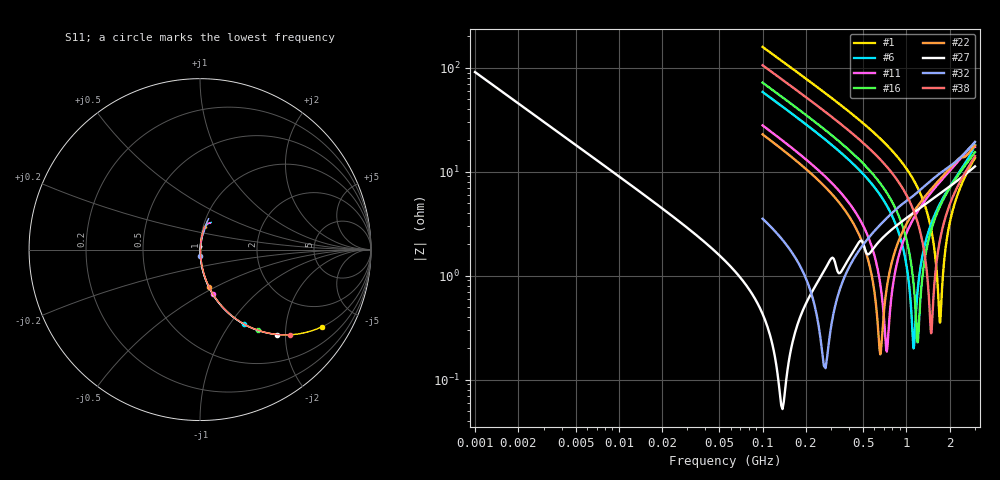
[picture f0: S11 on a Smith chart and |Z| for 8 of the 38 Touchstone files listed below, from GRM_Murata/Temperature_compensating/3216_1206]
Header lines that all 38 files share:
!These Parameters are Measured in Series Mode Connection
!Data Generated on Mar 30, 2021
!  o--ll--o
!Port1  Port2
!  o------o
!Operation Temp=25[degC], DC Bias Voltage=0[V]
# Hz S RI R 50
!Freq.(Hz) S11(Real) S11(Imag) S21(Real) S21(Imag) S12(Real) S12(Imag) S22(Real) S22(Imag)
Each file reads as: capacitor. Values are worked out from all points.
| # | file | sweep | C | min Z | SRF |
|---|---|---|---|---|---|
| 1 | GRM31A5C2J100JW01.s2p | 100 MHz to 3 GHz | 9.99 pF | 353 mohm | 1.712 GHz |
| 2 | GRM31A5C2J120JW01.s2p | 100 MHz to 3 GHz | 12 pF | 287 mohm | 1.56 GHz |
| 3 | GRM31A5C2J121JW01.s2p | 100 MHz to 3 GHz | 120 pF | 158 mohm | 485.4 MHz |
| 4 | GRM31A5C2J150JW01.s2p | 100 MHz to 3 GHz | 15 pF | 277 mohm | 1.433 GHz |
| 5 | GRM31A5C2J181JW01.s2p | 100 MHz to 3 GHz | 180 pF | 135 mohm | 403.4 MHz |
| 6 | GRM31A5C2J270JW01.s2p | 100 MHz to 3 GHz | 27 pF | 200 mohm | 1.124 GHz |
| 7 | GRM31A5C2J271JW01.s2p | 100 MHz to 3 GHz | 270 pF | 131 mohm | 327.6 MHz |
| 8 | GRM31A5C2J331JW01.s2p | 100 MHz to 3 GHz | 330 pF | 120 mohm | 301.7 MHz |
| 9 | GRM31A5C2J390JW01.s2p | 100 MHz to 3 GHz | 39 pF | 222 mohm | 891.9 MHz |
| 10 | GRM31A5C2J471JW01.s2p | 100 MHz to 3 GHz | 469 pF | 96.8 mohm | 252.7 MHz |
| 11 | GRM31A5C2J560JW01.s2p | 100 MHz to 3 GHz | 56 pF | 186 mohm | 729.6 MHz |
| 12 | GRM31A5C2J820JW01.s2p | 100 MHz to 3 GHz | 81.9 pF | 151 mohm | 605.7 MHz |
| 13 | GRM31A5C3A120JW01.s2p | 100 MHz to 3 GHz | 12 pF | 297 mohm | 1.578 GHz |
| 14 | GRM31A5C3A121JW01.s2p | 100 MHz to 3 GHz | 120 pF | 124 mohm | 524.1 MHz |
| 15 | GRM31A5C3A151JW01.s2p | 100 MHz to 3 GHz | 150 pF | 108 mohm | 484.4 MHz |
| 16 | GRM31A5C3A220JW01.s2p | 100 MHz to 3 GHz | 22 pF | 228 mohm | 1.198 GHz |
| 17 | GRM31A5C3A271JWA1.s2p | 100 MHz to 3 GHz | 271 pF | 92.8 mohm | 341.9 MHz |
| 18 | GRM31A5C3A330JW01.s2p | 100 MHz to 3 GHz | 33 pF | 192 mohm | 1.023 GHz |
| 19 | GRM31A5C3A331JWA1.s2p | 100 MHz to 3 GHz | 294 pF | 81.7 mohm | 319.4 MHz |
| 20 | GRM31A5C3A390JW01.s2p | 100 MHz to 3 GHz | 39 pF | 197 mohm | 900.4 MHz |
| 21 | GRM31A5C3A391JWA1.s2p | 100 MHz to 3 GHz | 391 pF | 75.8 mohm | 280.4 MHz |
| 22 | GRM31A5C3A680JW01.s2p | 100 MHz to 3 GHz | 68 pF | 175 mohm | 658.9 MHz |
| 23 | GRM31A7U2J122JW31.s2p | 1 MHz to 3 GHz | 1.23 nF | 58.6 mohm | 162.5 MHz |
| 24 | GRM31A7U2J150JW31.s2p | 100 MHz to 3 GHz | 15 pF | 282 mohm | 1.483 GHz |
| 25 | GRM31A7U2J151JW31.s2p | 100 MHz to 3 GHz | 150 pF | 146 mohm | 450.1 MHz |
| 26 | GRM31A7U2J181JW31.s2p | 100 MHz to 3 GHz | 180 pF | 137 mohm | 415.2 MHz |
| 27 | GRM31A7U2J182JW31.s2p | 1 MHz to 3 GHz | 1.75 nF | 52.1 mohm | 137.3 MHz |
| 28 | GRM31A7U2J220JW31.s2p | 100 MHz to 3 GHz | 22 pF | 280 mohm | 1.159 GHz |
| 29 | GRM31A7U2J221JW31.s2p | 100 MHz to 3 GHz | 220 pF | 115 mohm | 376.5 MHz |
| 30 | GRM31A7U2J271JW31.s2p | 100 MHz to 3 GHz | 270 pF | 95.7 mohm | 355.3 MHz |
| 31 | GRM31A7U2J331JW31.s2p | 100 MHz to 3 GHz | 329 pF | 84.2 mohm | 325.1 MHz |
| 32 | GRM31A7U2J391JW31.s2p | 100 MHz to 3 GHz | 390 pF | 129 mohm | 271.5 MHz |
| 33 | GRM31A7U2J470JW31.s2p | 100 MHz to 3 GHz | 47 pF | 217 mohm | 812.7 MHz |
| 34 | GRM31A7U2J471JW31.s2p | 100 MHz to 3 GHz | 470 pF | 106 mohm | 251.7 MHz |
| 35 | GRM31A7U2J561JW31.s2p | 100 MHz to 3 GHz | 559 pF | 82.4 mohm | 231.8 MHz |
| 36 | GRM31A7U2J820JW31.s2p | 100 MHz to 3 GHz | 81.9 pF | 169 mohm | 593.4 MHz |
| 37 | GRM31A7U3A101JW31.s2p | 100 MHz to 3 GHz | 99.9 pF | 155 mohm | 545.2 MHz |
| 38 | GRM31A7U3A150JW31.s2p | 100 MHz to 3 GHz | 15 pF | 279 mohm | 1.488 GHz |
